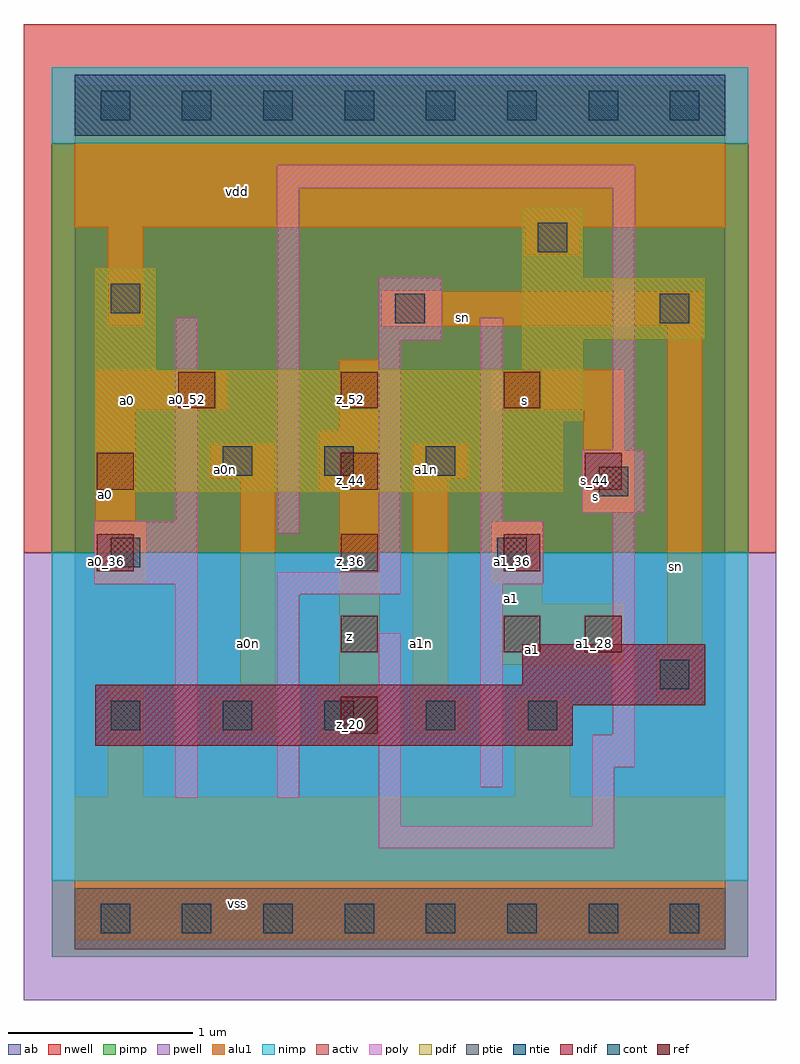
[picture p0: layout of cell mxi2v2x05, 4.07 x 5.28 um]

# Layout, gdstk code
import gdstk
lib = gdstk.Library(unit=1e-6, precision=2.5e-09)
def R(c, l, rs):  # rectangles x0, y0, x1, y1
    for r in rs: c.add(gdstk.rectangle(r[:2], r[2:], *l))
def A(c, l, x, y, w, h, nx, ny, dx, dy):  # array of equal rectangles
    R(c, l, [(x+i*dx, y+j*dy, x+i*dx+w, y+j*dy+h) for i in range(nx) for j in range(ny)])
ndif = (3, 0)
pdif = (4, 0)
ntie = (5, 0)
ptie = (6, 0)
ref = (24, 0)
cont = (25, 0)
pwell = (41, 0)
nwell = (42, 0)
activ = (43, 0)
pimp = (44, 0)
nimp = (45, 0)
poly = (46, 0)
alu1 = (49, 0)
ab = (63, 0)

mxi2v2x05 = lib.new_cell('mxi2v2x05')
R(mxi2v2x05, ndif, [(0.11,0.935,2.695,1.155), (0.11,1.155,3.41,1.265), (2.42,1.265,3.41,1.485)])
R(mxi2v2x05, pdif, [(0.11,2.31,2.64,2.695), (0.11,2.695,2.75,2.97), (0.11,2.97,0.44,3.52), (2.42,2.97,2.75,3.135), (2.42,3.135,3.41,3.465), (2.42,3.465,2.75,3.85)])
R(mxi2v2x05, ntie, [(0,4.235,3.52,4.565)])
R(mxi2v2x05, ptie, [(0,-0.165,3.52,0.165)])
A(mxi2v2x05, ref, 1.44, 1, 0.2, 0.2, 1, 3, 0, 0.44)
A(mxi2v2x05, ref, 0.12, 2.32, 0.2, 0.2, 3, 1, 1.32, 0)
A(mxi2v2x05, ref, 0.56, 2.76, 0.2, 0.2, 3, 1, 0.88, 0)
R(mxi2v2x05, ref, [(2.32,1.44,2.52,1.64), (2.76,1.44,2.96,1.64), (0.12,1.88,0.32,2.08), (2.32,1.88,2.52,2.08)])
A(mxi2v2x05, cont, 0.14, -0.08, 0.16, 0.16, 8, 2, 0.44, 4.4)
A(mxi2v2x05, cont, 0.8, 1.02, 0.16, 0.16, 4, 1, 0.55, 0)
A(mxi2v2x05, cont, 0.8, 2.395, 0.16, 0.16, 3, 1, 0.55, 0)
R(mxi2v2x05, cont, [(0.195,1.02,0.355,1.18), (3.165,1.24,3.325,1.4), (0.195,1.9,0.355,2.06), (2.285,1.9,2.445,2.06), (2.835,2.285,2.995,2.445), (1.735,3.22,1.895,3.38), (3.165,3.22,3.325,3.38), (0.195,3.275,0.355,3.435), (2.505,3.605,2.665,3.765)])
R(mxi2v2x05, pwell, [(-0.275,-0.44,3.795,1.98)])
R(mxi2v2x05, nwell, [(-0.275,1.98,3.795,4.84)])
R(mxi2v2x05, activ, [(0,-0.165,3.52,0.165), (0.11,0.935,2.695,1.155), (0.11,1.155,3.41,1.265), (2.42,1.265,3.41,1.485), (0.11,2.31,2.64,2.695), (0.11,2.695,2.75,2.97), (0.11,2.97,0.44,3.52), (2.42,2.97,2.75,3.135), (2.42,3.135,3.41,3.465), (2.42,3.465,2.75,3.85), (0,4.235,3.52,4.565)])
R(mxi2v2x05, pimp, [(-0.125,-0.205,3.645,0.205), (-0.125,1.98,3.645,4.195)])
R(mxi2v2x05, nimp, [(-0.125,0.205,3.645,1.98), (-0.125,4.195,3.645,4.605)])
R(mxi2v2x05, poly, [(1.645,0.38,2.92,0.5), (1.645,0.5,1.765,1.545), (2.8,0.5,2.92,0.82), (0.545,0.655,0.665,1.81), (1.095,0.655,1.215,1.755), (2.195,0.71,2.315,1.81), (2.8,0.82,3.03,0.995), (2.91,0.995,3.03,2.195), (1.095,1.755,1.765,1.875), (0.105,1.81,0.665,2.15), (2.195,1.81,2.535,2.15), (1.645,1.875,1.765,3.13), (1.095,2.085,1.215,3.955), (0.545,2.15,0.665,3.25), (2.195,2.15,2.315,3.25), (2.745,2.195,3.085,2.535), (2.91,2.535,3.03,3.955), (1.645,3.13,1.985,3.47), (1.095,3.955,3.03,4.075)])
R(mxi2v2x05, alu1, [(0,-0.11,3.52,0.66), (0.18,0.66,0.37,1.25), (2.38,0.66,2.68,1.195), (1.32,0.935,1.65,1.265), (0.73,1.005,1.085,1.195), (1.83,1.005,2.13,1.195), (3.15,1.17,3.395,1.47), (0.895,1.195,1.085,2.38), (1.83,1.195,2.02,2.38), (1.43,1.265,1.65,2.31), (2.31,1.375,2.97,1.705), (3.205,1.47,3.395,3.205), (2.31,1.705,2.53,1.815), (0.11,1.815,0.385,2.145), (2.255,1.815,2.53,2.145), (0.11,2.145,0.33,2.75), (2.75,2.2,3.025,2.53), (1.32,2.31,1.65,2.64), (0.73,2.38,1.085,2.57), (1.83,2.38,2.13,2.57), (2.75,2.53,2.97,2.75), (1.43,2.64,1.65,3.025), (0.11,2.75,0.825,2.97), (2.255,2.75,2.97,2.97), (0.18,3.205,0.37,3.74), (1.665,3.205,3.395,3.395), (2.435,3.59,2.735,3.74), (0,3.74,3.52,4.51)])
R(mxi2v2x05, ab, [(0,0,3.52,4.4)])
mxi2v2x05.add(gdstk.Label('vss', (0.88,0.0825), layer=49, texttype=0))
mxi2v2x05.add(gdstk.Label('sn', (3.2525,1.9025), layer=49, texttype=0))
mxi2v2x05.add(gdstk.Label('a1', (2.475,1.4575), layer=49, texttype=0))
mxi2v2x05.add(gdstk.Label('a1', (2.365,1.7325), layer=49, texttype=0))
mxi2v2x05.add(gdstk.Label('s', (2.8175,2.2825), layer=49, texttype=0))
mxi2v2x05.add(gdstk.Label('a1n', (1.8775,1.49), layer=49, texttype=0))
mxi2v2x05.add(gdstk.Label('a1n', (1.905,2.4275), layer=49, texttype=0))
mxi2v2x05.add(gdstk.Label('z', (1.485,1.525), layer=49, texttype=0))
mxi2v2x05.add(gdstk.Label('a0n', (0.9425,1.49), layer=49, texttype=0))
mxi2v2x05.add(gdstk.Label('a0n', (0.8175,2.4275), layer=49, texttype=0))
mxi2v2x05.add(gdstk.Label('s', (2.4325,2.805), layer=49, texttype=0))
mxi2v2x05.add(gdstk.Label('a0', (0.165,2.295), layer=49, texttype=0))
mxi2v2x05.add(gdstk.Label('a0', (0.2875,2.805), layer=49, texttype=0))
mxi2v2x05.add(gdstk.Label('sn', (2.0975,3.2525), layer=49, texttype=0))
mxi2v2x05.add(gdstk.Label('vdd', (0.88,3.9325), layer=49, texttype=0))
mxi2v2x05.add(gdstk.Label('a0_52', (0.61,2.81), layer=24, texttype=0))
mxi2v2x05.add(gdstk.Label('z_44', (1.49,2.37), layer=24, texttype=0))
mxi2v2x05.add(gdstk.Label('z_52', (1.49,2.81), layer=24, texttype=0))
mxi2v2x05.add(gdstk.Label('a1_36', (2.37,1.93), layer=24, texttype=0))
mxi2v2x05.add(gdstk.Label('a1_28', (2.81,1.49), layer=24, texttype=0))
mxi2v2x05.add(gdstk.Label('s_52', (2.37,2.81), layer=24, texttype=0))
mxi2v2x05.add(gdstk.Label('s_44', (2.81,2.37), layer=24, texttype=0))
mxi2v2x05.add(gdstk.Label('z_36', (1.49,1.93), layer=24, texttype=0))
mxi2v2x05.add(gdstk.Label('z_28', (1.49,1.49), layer=24, texttype=0))
mxi2v2x05.add(gdstk.Label('z_20', (1.49,1.05), layer=24, texttype=0))
mxi2v2x05.add(gdstk.Label('a0_36', (0.17,1.93), layer=24, texttype=0))
mxi2v2x05.add(gdstk.Label('a1_28', (2.37,1.49), layer=24, texttype=0))
mxi2v2x05.add(gdstk.Label('a0_44', (0.17,2.37), layer=24, texttype=0))

lib.write_gds('mxi2v2x05.gds')
